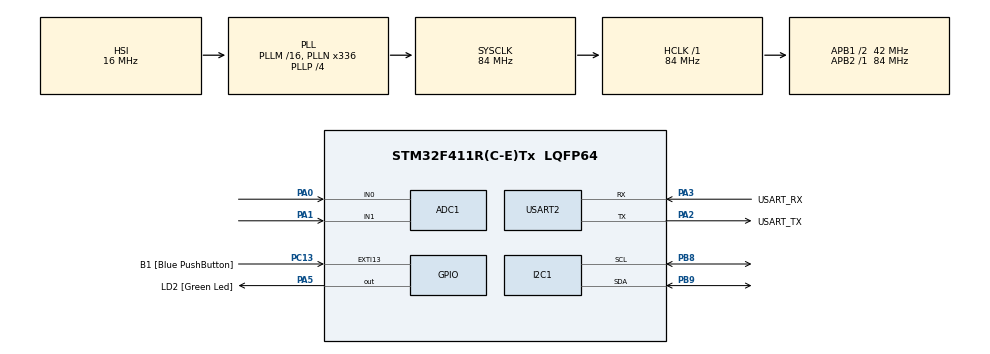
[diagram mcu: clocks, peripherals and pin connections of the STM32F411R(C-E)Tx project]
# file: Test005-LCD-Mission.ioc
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ADC1.Channel-0\#ChannelRegularConversion=ADC_CHANNEL_0
ADC1.Channel-1\#ChannelRegularConversion=ADC_CHANNEL_1
ADC1.ContinuousConvMode=DISABLE
ADC1.DMAContinuousRequests=ENABLE
ADC1.DiscontinuousConvMode=ENABLE
ADC1.ExternalTrigConv=ADC_EXTERNALTRIGCONV_T3_TRGO
ADC1.NbrOfConversion=2
ADC1.NbrOfConversionFlag=1
ADC1.Rank-0\#ChannelRegularConversion=1
ADC1.Rank-1\#ChannelRegularConversion=2
ADC1.SamplingTime-0\#ChannelRegularConversion=ADC_SAMPLETIME_3CYCLES
ADC1.SamplingTime-1\#ChannelRegularConversion=ADC_SAMPLETIME_3CYCLES
ADC1.ScanConvMode=ENABLE
ADC1.master=1
Dma.ADC1.0.Direction=DMA_PERIPH_TO_MEMORY
Dma.ADC1.0.FIFOMode=DMA_FIFOMODE_DISABLE
Dma.ADC1.0.Instance=DMA2_Stream0
Dma.ADC1.0.MemDataAlignment=DMA_MDATAALIGN_HALFWORD
Dma.ADC1.0.MemInc=DMA_MINC_ENABLE
Dma.ADC1.0.Mode=DMA_CIRCULAR
Dma.ADC1.0.PeriphDataAlignment=DMA_PDATAALIGN_HALFWORD
Dma.ADC1.0.PeriphInc=DMA_PINC_DISABLE
Dma.ADC1.0.Priority=DMA_PRIORITY_LOW
Dma.Request0=ADC1
Mcu.Family=STM32F4
Mcu.Name=STM32F411R(C-E)Tx
Mcu.Package=LQFP64
NVIC.DMA2_Stream0_IRQn=true\:0\:0\:false\:false\:true\:false\:true\:true
NVIC.PriorityGroup=NVIC_PRIORITYGROUP_0
PA0-WKUP.Signal=ADCx_IN0
PA1.Signal=ADCx_IN1
PA13.GPIO_Label=TMS
PA13.Mode=Serial_Wire
PA13.Signal=SYS_JTMS-SWDIO
PA14.GPIO_Label=TCK
PA14.Mode=Serial_Wire
PA14.Signal=SYS_JTCK-SWCLK
PA2.GPIO_Label=USART_TX
PA2.Mode=Asynchronous
PA2.Signal=USART2_TX
PA3.GPIO_Label=USART_RX
PA3.Mode=Asynchronous
PA3.Signal=USART2_RX
PA5.GPIO_Label=LD2 [Green Led]
PA5.Signal=GPIO_Output
PB3.GPIO_Label=SWO
PB3.Signal=SYS_JTDO-SWO
PB8.Mode=I2C
PB8.Signal=I2C1_SCL
PB9.Mode=I2C
PB9.Signal=I2C1_SDA
PC13-ANTI_TAMP.GPIO_Label=B1 [Blue PushButton]
PC13-ANTI_TAMP.GPIO_ModeDefaultEXTI=GPIO_MODE_IT_FALLING
PC13-ANTI_TAMP.Signal=GPXTI13
PC14-OSC32_IN.Mode=LSE-External-Oscillator
PC14-OSC32_IN.Signal=RCC_OSC32_IN
PC15-OSC32_OUT.Mode=LSE-External-Oscillator
PC15-OSC32_OUT.Signal=RCC_OSC32_OUT
PH0\ -\ OSC_IN.Mode=HSE-External-Clock-Source
PH0\ -\ OSC_IN.Signal=RCC_OSC_IN
PH1\ -\ OSC_OUT.Mode=HSE-External-Clock-Source
PH1\ -\ OSC_OUT.Signal=RCC_OSC_OUT
ProjectManager.HeapSize=0x200
ProjectManager.StackSize=0x400
ProjectManager.TargetToolchain=STM32CubeIDE
RCC.48MHZClocksFreq_Value=84000000
RCC.AHBFreq_Value=84000000
RCC.APB1CLKDivider=RCC_HCLK_DIV2
RCC.APB1Freq_Value=42000000
RCC.APB1TimFreq_Value=84000000
RCC.APB2Freq_Value=84000000
RCC.APB2TimFreq_Value=84000000
RCC.CortexFreq_Value=84000000
RCC.FLatency-AdvancedSettings=FLASH_LATENCY_2
RCC.HCLKFreq_Value=84000000
RCC.HSE_VALUE=8000000
RCC.HSI_VALUE=16000000
RCC.PLLN=336
RCC.PLLP=RCC_PLLP_DIV4
RCC.SYSCLKFreq_VALUE=84000000
RCC.SYSCLKSource=RCC_SYSCLKSOURCE_PLLCLK
RCC.VCOOutputFreq_Value=336000000
SH.ADCx_IN0.0=ADC1_IN0,IN0
SH.ADCx_IN1.0=ADC1_IN1,IN1
TIM3.Period=8400-1
TIM3.Prescaler=1000-1
TIM3.TIM_MasterOutputTrigger=TIM_TRGO_UPDATE
USART2.VirtualMode=VM_ASYNC
VP_TIM3_VS_ClockSourceINT.Mode=Internal
board=NUCLEO-F411RE

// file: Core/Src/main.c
/* USER CODE BEGIN Header */
/**
  ******************************************************************************
  * @file           : main.c
  * @brief          : Main program body
  ******************************************************************************
  * @attention
  *
  * Copyright (c) 2024 STMicroelectronics.
  * All rights reserved.
  *
  * This software is licensed under terms that can be found in the LICENSE file
  * in the root directory of this software component.
  * If no LICENSE file comes with this software, it is provided AS-IS.
  *
  ******************************************************************************
  */
/* USER CODE END Header */
#include "main.h"

ADC_HandleTypeDef hadc1;
DMA_HandleTypeDef hdma_adc1;

I2C_HandleTypeDef hi2c1;

TIM_HandleTypeDef htim3;

UART_HandleTypeDef huart2;

void SystemClock_Config(void);
static void MX_GPIO_Init(void);
static void MX_DMA_Init(void);
static void MX_USART2_UART_Init(void);
static void MX_ADC1_Init(void);
static void MX_TIM3_Init(void);
static void MX_I2C1_Init(void);

/* USER CODE BEGIN 0 */
unsigned short val[2];
char buffer[15] = {0, };

/* USER CODE END 0 */

int main(void)
{

  /* MCU Configuration--------------------------------------------------------*/

  /* Reset of all peripherals, Initializes the Flash interface and the Systick. */
  HAL_Init();

  /* Configure the system clock */
  SystemClock_Config();

  /* Initialize all configured peripherals */
  MX_GPIO_Init();
  MX_DMA_Init();
  MX_USART2_UART_Init();
  MX_ADC1_Init();
  MX_TIM3_Init();
  MX_I2C1_Init();
  /* USER CODE BEGIN 2 */
  HAL_ADC_Start_DMA(&hadc1, val, 2);
  HAL_TIM_Base_Start(&htim3);
  ProgramStart("X, Y to LCD");
  i2c_init(&hi2c1);
  i2c_scan ();
  lcd_init();  HAL_Delay(10);

  /* USER CODE END 2 */

  /* Infinite loop */
  while (1)
  {

    /* USER CODE BEGIN 3 */
      double tm = ((240.0 / 4096.0 ) * val[0]) - 40; // don't do: double tm = ((240 / 4096 ) * val[0]) - 40; int / int = 0
      double hm = ((100.0 / 4096.0 ) * val[1]);
      sprintf(buffer, "Temp : %-6.1f", tm);
      lcd_printEx(buffer, 0);
      HAL_Delay(100);
      sprintf(buffer, "Humi : %-4.1f", hm);
      lcd_printEx(buffer, 1);
      HAL_Delay(100);
  }
  /* USER CODE END 3 */
}

void SystemClock_Config(void)
{
  RCC_OscInitTypeDef RCC_OscInitStruct = {0};
  RCC_ClkInitTypeDef RCC_ClkInitStruct = {0};

  /** Configure the main internal regulator output voltage
  */
  __HAL_RCC_PWR_CLK_ENABLE();
  __HAL_PWR_VOLTAGESCALING_CONFIG(PWR_REGULATOR_VOLTAGE_SCALE1);

  /** Initializes the RCC Oscillators according to the specified parameters
  * in the RCC_OscInitTypeDef structure.
  */
  RCC_OscInitStruct.OscillatorType = RCC_OSCILLATORTYPE_HSI;
  RCC_OscInitStruct.HSIState = RCC_HSI_ON;
  RCC_OscInitStruct.HSICalibrationValue = RCC_HSICALIBRATION_DEFAULT;
  RCC_OscInitStruct.PLL.PLLState = RCC_PLL_ON;
  RCC_OscInitStruct.PLL.PLLSource = RCC_PLLSOURCE_HSI;
  RCC_OscInitStruct.PLL.PLLM = 16;
  RCC_OscInitStruct.PLL.PLLN = 336;
  RCC_OscInitStruct.PLL.PLLP = RCC_PLLP_DIV4;
  RCC_OscInitStruct.PLL.PLLQ = 4;
  if (HAL_RCC_OscConfig(&RCC_OscInitStruct) != HAL_OK)
  {
    Error_Handler();
  }

  /** Initializes the CPU, AHB and APB buses clocks
  */
  RCC_ClkInitStruct.ClockType = RCC_CLOCKTYPE_HCLK|RCC_CLOCKTYPE_SYSCLK
                              |RCC_CLOCKTYPE_PCLK1|RCC_CLOCKTYPE_PCLK2;
  RCC_ClkInitStruct.SYSCLKSource = RCC_SYSCLKSOURCE_PLLCLK;
  RCC_ClkInitStruct.AHBCLKDivider = RCC_SYSCLK_DIV1;
  RCC_ClkInitStruct.APB1CLKDivider = RCC_HCLK_DIV2;
  RCC_ClkInitStruct.APB2CLKDivider = RCC_HCLK_DIV1;

  if (HAL_RCC_ClockConfig(&RCC_ClkInitStruct, FLASH_LATENCY_2) != HAL_OK)
  {
    Error_Handler();
  }
}

static void MX_ADC1_Init(void)
{

  ADC_ChannelConfTypeDef sConfig = {0};

  /** Configure the global features of the ADC (Clock, Resolution, Data Alignment and number of conversion)
  */
  hadc1.Instance = ADC1;
  hadc1.Init.ClockPrescaler = ADC_CLOCK_SYNC_PCLK_DIV4;
  hadc1.Init.Resolution = ADC_RESOLUTION_12B;
  hadc1.Init.ScanConvMode = ENABLE;
  hadc1.Init.ContinuousConvMode = DISABLE;
  hadc1.Init.DiscontinuousConvMode = ENABLE;
  hadc1.Init.NbrOfDiscConversion = 1;
  hadc1.Init.ExternalTrigConvEdge = ADC_EXTERNALTRIGCONVEDGE_RISING;
  hadc1.Init.ExternalTrigConv = ADC_EXTERNALTRIGCONV_T3_TRGO;
  hadc1.Init.DataAlign = ADC_DATAALIGN_RIGHT;
  hadc1.Init.NbrOfConversion = 2;
  hadc1.Init.DMAContinuousRequests = ENABLE;
  hadc1.Init.EOCSelection = ADC_EOC_SINGLE_CONV;
  if (HAL_ADC_Init(&hadc1) != HAL_OK)
  {
    Error_Handler();
  }

  /** Configure for the selected ADC regular channel its corresponding rank in the sequencer and its sample time.
  */
  sConfig.Channel = ADC_CHANNEL_0;
  sConfig.Rank = 1;
  sConfig.SamplingTime = ADC_SAMPLETIME_3CYCLES;
  if (HAL_ADC_ConfigChannel(&hadc1, &sConfig) != HAL_OK)
  {
    Error_Handler();
  }

  /** Configure for the selected ADC regular channel its corresponding rank in the sequencer and its sample time.
  */
  sConfig.Channel = ADC_CHANNEL_1;
  sConfig.Rank = 2;
  if (HAL_ADC_ConfigChannel(&hadc1, &sConfig) != HAL_OK)
  {
    Error_Handler();
  }

}

static void MX_I2C1_Init(void)
{

  hi2c1.Instance = I2C1;
  hi2c1.Init.ClockSpeed = 100000;
  hi2c1.Init.DutyCycle = I2C_DUTYCYCLE_2;
  hi2c1.Init.OwnAddress1 = 0;
  hi2c1.Init.AddressingMode = I2C_ADDRESSINGMODE_7BIT;
  hi2c1.Init.DualAddressMode = I2C_DUALADDRESS_DISABLE;
  hi2c1.Init.OwnAddress2 = 0;
  hi2c1.Init.GeneralCallMode = I2C_GENERALCALL_DISABLE;
  hi2c1.Init.NoStretchMode = I2C_NOSTRETCH_DISABLE;
  if (HAL_I2C_Init(&hi2c1) != HAL_OK)
  {
    Error_Handler();
  }

}

static void MX_TIM3_Init(void)
{

  TIM_ClockConfigTypeDef sClockSourceConfig = {0};
  TIM_MasterConfigTypeDef sMasterConfig = {0};

  htim3.Instance = TIM3;
  htim3.Init.Prescaler = 1000-1;
  htim3.Init.CounterMode = TIM_COUNTERMODE_UP;
  htim3.Init.Period = 8400-1;
  htim3.Init.ClockDivision = TIM_CLOCKDIVISION_DIV1;
  htim3.Init.AutoReloadPreload = TIM_AUTORELOAD_PRELOAD_DISABLE;
  if (HAL_TIM_Base_Init(&htim3) != HAL_OK)
  {
    Error_Handler();
  }
  sClockSourceConfig.ClockSource = TIM_CLOCKSOURCE_INTERNAL;
  if (HAL_TIM_ConfigClockSource(&htim3, &sClockSourceConfig) != HAL_OK)
  {
    Error_Handler();
  }
  sMasterConfig.MasterOutputTrigger = TIM_TRGO_UPDATE;
  sMasterConfig.MasterSlaveMode = TIM_MASTERSLAVEMODE_DISABLE;
  if (HAL_TIMEx_MasterConfigSynchronization(&htim3, &sMasterConfig) != HAL_OK)
  {
    Error_Handler();
  }

}

static void MX_USART2_UART_Init(void)
{

  huart2.Instance = USART2;
  huart2.Init.BaudRate = 115200;
  huart2.Init.WordLength = UART_WORDLENGTH_8B;
  huart2.Init.StopBits = UART_STOPBITS_1;
  huart2.Init.Parity = UART_PARITY_NONE;
  huart2.Init.Mode = UART_MODE_TX_RX;
  huart2.Init.HwFlowCtl = UART_HWCONTROL_NONE;
  huart2.Init.OverSampling = UART_OVERSAMPLING_16;
  if (HAL_UART_Init(&huart2) != HAL_OK)
  {
    Error_Handler();
  }

}

static void MX_DMA_Init(void)
{

  /* DMA controller clock enable */
  __HAL_RCC_DMA2_CLK_ENABLE();

  /* DMA interrupt init */
  /* DMA2_Stream0_IRQn interrupt configuration */
  HAL_NVIC_SetPriority(DMA2_Stream0_IRQn, 0, 0);
  HAL_NVIC_EnableIRQ(DMA2_Stream0_IRQn);

}

static void MX_GPIO_Init(void)
{
  GPIO_InitTypeDef GPIO_InitStruct = {0};

  /* GPIO Ports Clock Enable */
  __HAL_RCC_GPIOC_CLK_ENABLE();
  __HAL_RCC_GPIOH_CLK_ENABLE();
  __HAL_RCC_GPIOA_CLK_ENABLE();
  __HAL_RCC_GPIOB_CLK_ENABLE();

  /*Configure GPIO pin Output Level */
  HAL_GPIO_WritePin(LD2_GPIO_Port, LD2_Pin, GPIO_PIN_RESET);

  /*Configure GPIO pin : B1_Pin */
  GPIO_InitStruct.Pin = B1_Pin;
  GPIO_InitStruct.Mode = GPIO_MODE_IT_FALLING;
  GPIO_InitStruct.Pull = GPIO_NOPULL;
  HAL_GPIO_Init(B1_GPIO_Port, &GPIO_InitStruct);

  /*Configure GPIO pin : LD2_Pin */
  GPIO_InitStruct.Pin = LD2_Pin;
  GPIO_InitStruct.Mode = GPIO_MODE_OUTPUT_PP;
  GPIO_InitStruct.Pull = GPIO_NOPULL;
  GPIO_InitStruct.Speed = GPIO_SPEED_FREQ_LOW;
  HAL_GPIO_Init(LD2_GPIO_Port, &GPIO_InitStruct);

}

void Error_Handler(void)
{
  __disable_irq();
  while (1)
  {
  }
}
